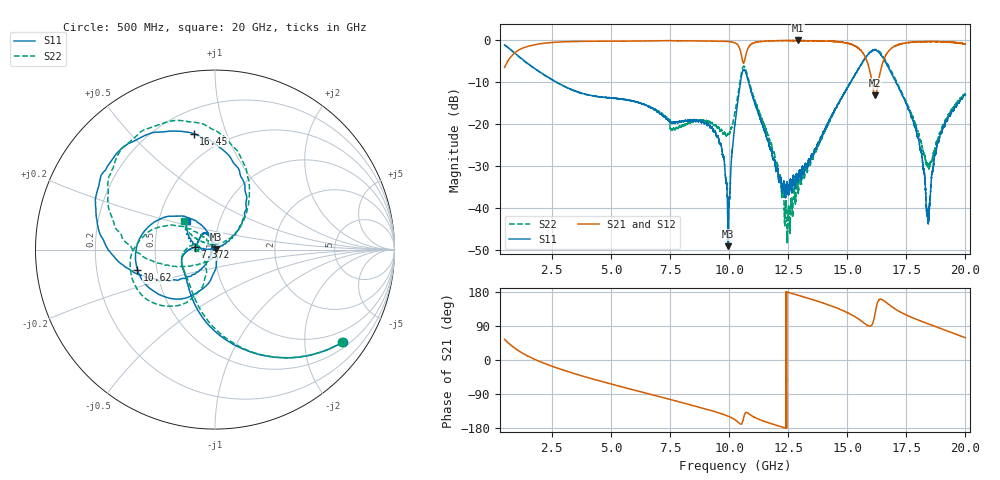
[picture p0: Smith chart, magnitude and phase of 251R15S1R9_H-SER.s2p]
!{251R15S1R9}
!Johanson Technology Inc.
!www.johansontechnology.com
!Test Board Conditions:
!Substrate Type  RO4350B
!Substrate Thickness  20 mil
!Substrate Dk  3.66
!TL Type: GCPW
!TL Trace Width  34 mil
!TL Gap  10 mil
!Electrode orientation  Horizontal
!DUT TOPOLOGY	SERIES
!Mounting Pad LxW  26x52 mil
! Created Thu Mar 12 16:37:17 2020
# mhz S ma R 50
! 2 Port Network Data from SP1.SP block
! freq  magS11  angS11  magS21  angS21  magS12  angS12  magS22  angS22
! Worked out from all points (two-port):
!   19501 points, 500 MHz to 20 GHz, reference 50 ohm
!   highest |S21| = -0.05 dB at 12.9 GHz (marker M1); lowest = -13.1 dB at 16.18 GHz (marker M2)
!   |S21| within 3 dB of the highest: 918.4 MHz to 10.5 GHz (9.584 GHz wide, 168 % of centre); 10.73 GHz to 15.67 GHz (4.935 GHz wide, 37.4 % of centre)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
!   lowest |S11| = -49.1 dB at 9.96 GHz (marker M3), VSWR 1.01, Z = 50.3 + j0.171 ohm
!   |S11| at or under -10 dB: 2.702 GHz to 10.48 GHz (7.78 GHz wide, 118 % of centre); 10.82 GHz to 15.15 GHz (4.322 GHz wide, 33.3 % of centre); 17.06 GHz to end of sweep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
!   |S22| runs from -48.6 to -1.1 dB; largest |S21 - S12| = 0.018
!   S11 on the Smith chart (normalised r, x): 500 MHz: 0.66, -2.97; 7.372 GHz: 0.80, +0.02; 10.62 GHz: 0.39, -0.11; 16.45 GHz: 0.34, +0.77; 20 GHz: 0.69, +0.23
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500  0.879 -35.8  0.4743 54.3  0.4757 54.3  0.8763 -35.9
1771  0.4608 -89.2  0.8842 1.9  0.8856 1.9  0.4579 -87.7
3750  0.2342 -132.0  0.9682 -41.5  0.969 -41.4  0.233 -129.1
7000  0.1404 178.4  0.986 -95.9  0.9861 -95.9  0.1433 172.7
7372  0.1148 173.0  0.9894 -101.9  0.9889 -101.9  0.1203 165.8
9340  0.08242 111.5  0.9751 -135.1  0.9758 -135.3  0.0978 -177.3
9715  0.04477 103.2  0.9699 -142.6  0.9717 -142.6  0.07987 -167.0
9960  0.00351 28.9  0.9621 -148.3  0.9625 -148.3  0.07721 -143.3
10250  0.1016 -86.7  0.9304 -157.6  0.932 -157.6  0.1392 -109.8
10618  0.4473 -165.1  0.534 -151.9  0.5359 -152.2  0.4886 -157.6
10890  0.2693 136.1  0.8752 -144.1  0.8771 -144.4  0.2888 151.9
12414  0.01643 158.2  0.9913 -179.8  0.992 -179.9  0.01113 77.0
12902  0.02093 -143.8  0.9938 171.1  0.9904 171.2  0.01761 -34.0
13500  0.04337 -126.7  0.9844 160.0  0.9887 160.1  0.04085 -88.1
15347  0.3986 -155.8  0.8497 113.4  0.8521 113.2  0.3963 -173.7
16181  0.7656 131.9  0.22 124.1  0.2208 124.6  0.7763 121.2
16454  0.6572 100.5  0.4863 159.7  0.486 160.8  0.6795 92.4
16750  0.4714 74.0  0.7452 146.9  0.7381 147.7  0.4958 70.4
17947  0.07591 32.3  0.9537 106.8  0.9621 106.9  0.08666 36.7
18420  0.007125 101.7  0.9642 95.7  0.9665 95.1  0.0319 88.9
18882  0.06364 175.8  0.9595 84.8  0.9558 84.8  0.0735 146.6
20000  0.2253 134.5  0.8967 58.6  0.8951 58.6  0.2339 136.7
